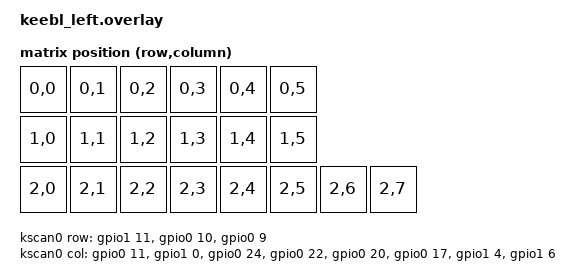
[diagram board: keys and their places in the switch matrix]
/* keebL — nice!nano v2 LEFT HALF
 * Hardware: 3 rows × 8 cols, COL2ROW diodes
 *
 * Left col pins  (KMK order): P0.11 P1.00 P0.24 P0.22 P0.20 P0.17 P1.04 P1.06
 * Left row pins  (KMK order): P1.11 P0.10 P0.09
 *
 * This half is the CENTRAL (BLE master).
 */

#include <dt-bindings/zmk/matrix_transform.h>

/ {
    chosen {
        zmk,kscan = &kscan0;
        zmk,matrix-transform = &transform_left;
    };

    kscan0: kscan {
        compatible = "zmk,kscan-gpio-matrix";
        diode-direction = "col2row";

        /* col2row: columns are driven outputs, rows are pulled inputs.
         * If keys don't register, swap GPIO_PULL_UP ↔ GPIO_PULL_DOWN on row-gpios. */
        col-gpios
            = <&gpio0 11 GPIO_ACTIVE_HIGH>   /* col 0 — P0.11 */
            , <&gpio1  0 GPIO_ACTIVE_HIGH>   /* col 1 — P1.00 */
            , <&gpio0 24 GPIO_ACTIVE_HIGH>   /* col 2 — P0.24 */
            , <&gpio0 22 GPIO_ACTIVE_HIGH>   /* col 3 — P0.22 */
            , <&gpio0 20 GPIO_ACTIVE_HIGH>   /* col 4 — P0.20 */
            , <&gpio0 17 GPIO_ACTIVE_HIGH>   /* col 5 — P0.17 */
            , <&gpio1  4 GPIO_ACTIVE_HIGH>   /* col 6 — P1.04 */
            , <&gpio1  6 GPIO_ACTIVE_HIGH>   /* col 7 — P1.06 */
            ;

        row-gpios
            = <&gpio1 11 (GPIO_ACTIVE_HIGH | GPIO_PULL_DOWN)>  /* row 0 — P1.11 */
            , <&gpio0 10 (GPIO_ACTIVE_HIGH | GPIO_PULL_DOWN)>  /* row 1 — P0.10 */
            , <&gpio0  9 (GPIO_ACTIVE_HIGH | GPIO_PULL_DOWN)>  /* row 2 — P0.09 */
            ;
    };

    /*
     * Map the 20 LEFT keymap positions (0-11 top rows, 24-31 bottom row)
     * to their physical matrix locations (row, col).
     *
     * Full keymap layout (L=left, R=right):
     *   Row 0:  pos  0- 5  (L)  |  pos  6-11  (R)
     *   Row 1:  pos 12-17  (L)  |  pos 18-23  (R)
     *   Row 2:  pos 24-31  (L)  |  pos 32-39  (R)
     */
    transform_left: transform_left {
        compatible = "zmk,matrix-transform";
        rows = <3>;
        columns = <8>;
        map = <
            /* Row 0: keymap pos 0-5 → physical R0C0-R0C5 */
            RC(0,0) RC(0,1) RC(0,2) RC(0,3) RC(0,4) RC(0,5)

            /* Row 1: keymap pos 12-17 → physical R1C0-R1C5 */
            RC(1,0) RC(1,1) RC(1,2) RC(1,3) RC(1,4) RC(1,5)

            /* Row 2: keymap pos 24-31 → physical R2C0-R2C7 (all 8 cols) */
            RC(2,0) RC(2,1) RC(2,2) RC(2,3) RC(2,4) RC(2,5) RC(2,6) RC(2,7)
        >;
    };
};
